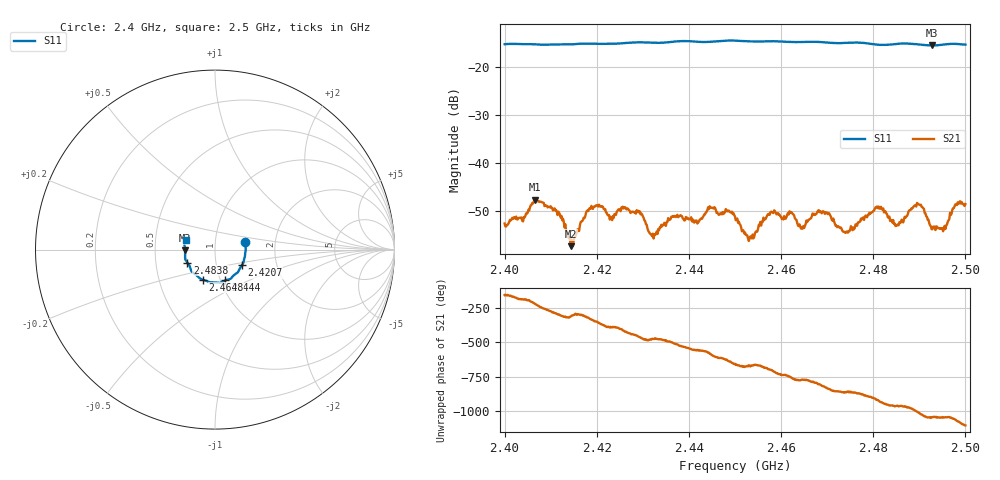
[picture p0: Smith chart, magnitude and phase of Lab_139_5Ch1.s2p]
# Hz S RI R 50
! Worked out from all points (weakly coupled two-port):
!   601 points, 2.4 GHz to 2.5 GHz, reference 50 ohm
!   highest |S21| = -47.67 dB at 2.4067 GHz (marker M1); lowest = -57.4 dB at 2.4143 GHz (marker M2)
!   lowest |S11| = -15.6 dB at 2.4928 GHz (marker M3), VSWR 1.40, Z = 35.7 - j0.313 ohm
!   |S11| at or under -10 dB: start of sweep to end of sweep
!   S12 and S22 are empty: the file has one direction only
!   S11 on the Smith chart (normalised r, x): 2.4 GHz: 1.39, +0.12; 2.4207 GHz: 1.33, -0.23; 2.444 GHz: 1.05, -0.37; 2.4648 GHz: 0.83, -0.29; 2.4838 GHz: 0.73, -0.11; 2.5 GHz: 0.72, +0.08
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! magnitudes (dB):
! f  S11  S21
! 2.4 GHz  -15.3  -52.7
! 2.4067 GHz  -15.4  -47.7
! 2.4113 GHz  -15.4  -50.2
! 2.4143 GHz  -15.4  -57.4
! 2.4167 GHz  -15.2  -52.2
! 2.4207 GHz  -15.3  -49.1
! 2.4292 GHz  -14.9  -50.4
! 2.4318 GHz  -15.0  -54.9
! 2.4333 GHz  -15.0  -53.8
! 2.444 GHz  -14.9  -49.9
! 2.45 GHz  -14.6  -51.2
! 2.4532 GHz  -14.7  -55.7
! 2.4582 GHz  -14.7  -50.4
! 2.4648 GHz  -14.9  -53.2
! 2.4667 GHz  -14.8  -51.2
! 2.474 GHz  -15.0  -54.6
! 2.4808 GHz  -15.4  -49.1
! 2.4833 GHz  -15.4  -51.4
! 2.4838 GHz  -15.4  -51.9
! 2.49 GHz  -15.4  -48.8
! 2.4928 GHz  -15.6  -53.9
! 2.5 GHz  -15.4  -48.6
